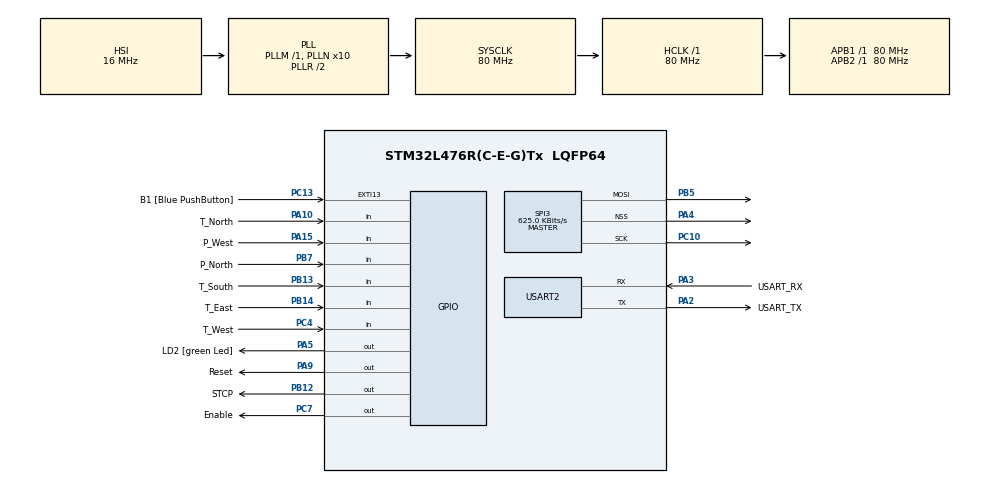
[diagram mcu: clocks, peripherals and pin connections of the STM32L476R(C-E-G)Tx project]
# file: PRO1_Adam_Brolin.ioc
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FREERTOS.Mutexes01=myMutex01,Dynamic,NULL,Available
FREERTOS.Queues01=queue_change_dir,4,direction_t,0,Dynamic,NULL,NULL;queue_pedestrian_wait,4,direction_t,0,Dynamic,NULL,NULL;queue_orange,4,direction_t,0,Dynamic,NULL,NULL;queue_east_west_input,4,uint8_t,0,Dynamic,NULL,NULL;queue_north_south_input,4,uint8_t,0,Dynamic,NULL,NULL
FREERTOS.Tasks01=ChangeDirection,24,128,change_direction,Default,NULL,Dynamic,NULL,NULL;ToogleBlueLight,8,128,toggle_blue_light,Default,NULL,Dynamic,NULL,NULL;Orange,48,128,orange_transition,Default,NULL,Dynamic,NULL,NULL;PedestrianWait,24,128,pedestrian_wait,Default,NULL,Dynamic,NULL,NULL;RenderState,32,128,render_state,Default,NULL,Dynamic,NULL,NULL;CheckInput,44,128,check_input,Default,NULL,Dynamic,NULL,NULL
FREERTOS.configTOTAL_HEAP_SIZE=8000
FREERTOS.configUSE_NEWLIB_REENTRANT=1
Mcu.Family=STM32L4
Mcu.Name=STM32L476R(C-E-G)Tx
Mcu.Package=LQFP64
NVIC.PriorityGroup=NVIC_PRIORITYGROUP_4
NVIC.TIM1_UP_TIM16_IRQn=true\:15\:0\:false\:false\:true\:false\:false\:true\:true
NVIC.TimeBase=TIM1_UP_TIM16_IRQn
NVIC.TimeBaseIP=TIM1
PA10.GPIO_Label=T_North
PA10.GPIO_PuPd=GPIO_PULLUP
PA10.Signal=GPIO_Input
PA13\ (JTMS-SWDIO).GPIO_Label=TMS
PA13\ (JTMS-SWDIO).Mode=Serial_Wire
PA13\ (JTMS-SWDIO).Signal=SYS_JTMS-SWDIO
PA14\ (JTCK-SWCLK).GPIO_Label=TCK
PA14\ (JTCK-SWCLK).Mode=Serial_Wire
PA14\ (JTCK-SWCLK).Signal=SYS_JTCK-SWCLK
PA15\ (JTDI).GPIO_Label=P_West
PA15\ (JTDI).GPIO_PuPd=GPIO_PULLUP
PA15\ (JTDI).Signal=GPIO_Input
PA2.GPIO_Label=USART_TX
PA2.GPIO_Mode=GPIO_MODE_AF_PP
PA2.GPIO_PuPd=GPIO_NOPULL
PA2.GPIO_Speed=GPIO_SPEED_FREQ_VERY_HIGH
PA2.Mode=Asynchronous
PA2.Signal=USART2_TX
PA3.GPIO_Label=USART_RX
PA3.GPIO_Mode=GPIO_MODE_AF_PP
PA3.GPIO_PuPd=GPIO_NOPULL
PA3.GPIO_Speed=GPIO_SPEED_FREQ_VERY_HIGH
PA3.Mode=Asynchronous
PA3.Signal=USART2_RX
PA4.Mode=NSS_Signal_Hard_Output
PA4.Signal=SPI3_NSS
PA5.GPIO_Label=LD2 [green Led]
PA5.GPIO_ModeDefaultOutputPP=GPIO_MODE_OUTPUT_PP
PA5.GPIO_PuPd=GPIO_NOPULL
PA5.GPIO_Speed=GPIO_SPEED_FREQ_LOW
PA5.Signal=GPIO_Output
PA9.GPIO_Label=Reset
PA9.PinState=GPIO_PIN_SET
PA9.Signal=GPIO_Output
PB12.GPIO_Label=STCP
PB12.Signal=GPIO_Output
PB13.GPIO_Label=T_South
PB13.GPIO_PuPd=GPIO_PULLUP
PB13.Signal=GPIO_Input
PB14.GPIO_Label=T_East
PB14.GPIO_PuPd=GPIO_PULLUP
PB14.Signal=GPIO_Input
PB3\ (JTDO-TRACESWO).GPIO_Label=SWO
PB3\ (JTDO-TRACESWO).Signal=SYS_JTDO-SWO
PB5.Mode=TX_Only_Simplex_Unidirect_Master
PB5.Signal=SPI3_MOSI
PB7.GPIO_Label=P_North
PB7.GPIO_PuPd=GPIO_PULLUP
PB7.Signal=GPIO_Input
PC10.Mode=TX_Only_Simplex_Unidirect_Master
PC10.Signal=SPI3_SCK
PC13.GPIO_Label=B1 [Blue PushButton]
PC13.GPIO_ModeDefaultEXTI=GPIO_MODE_IT_FALLING
PC13.GPIO_PuPd=GPIO_NOPULL
PC13.Signal=GPXTI13
PC14-OSC32_IN\ (PC14).Mode=LSE-External-Oscillator
PC14-OSC32_IN\ (PC14).Signal=RCC_OSC32_IN
PC15-OSC32_OUT\ (PC15).Mode=LSE-External-Oscillator
PC15-OSC32_OUT\ (PC15).Signal=RCC_OSC32_OUT
PC4.GPIO_Label=T_West
PC4.GPIO_PuPd=GPIO_PULLUP
PC4.Signal=GPIO_Input
PC7.GPIO_Label=Enable
PC7.Signal=GPIO_Output
PH0-OSC_IN\ (PH0).Signal=RCC_OSC_IN
PH1-OSC_OUT\ (PH1).Signal=RCC_OSC_OUT
ProjectManager.HeapSize=0x200
ProjectManager.StackSize=0x400
ProjectManager.TargetToolchain=STM32CubeIDE
RCC.ADCFreq_Value=64000000
RCC.AHBFreq_Value=80000000
RCC.APB1Freq_Value=80000000
RCC.APB1TimFreq_Value=80000000
RCC.APB2Freq_Value=80000000
RCC.APB2TimFreq_Value=80000000
RCC.CortexFreq_Value=80000000
RCC.HCLKFreq_Value=80000000
RCC.HSE_VALUE=8000000
RCC.HSI_VALUE=16000000
RCC.MSI_VALUE=4000000
RCC.PLLN=10
RCC.PLLSourceVirtual=RCC_PLLSOURCE_HSI
RCC.PREFETCH_ENABLE=1
RCC.SYSCLKFreq_VALUE=80000000
RCC.SYSCLKSource=RCC_SYSCLKSOURCE_PLLCLK
RCC.USBFreq_Value=64000000
RCC.VCOOutputFreq_Value=160000000
SPI3.BaudRatePrescaler=SPI_BAUDRATEPRESCALER_128
SPI3.CalculateBaudRate=625.0 KBits/s
SPI3.DataSize=SPI_DATASIZE_8BIT
SPI3.Direction=SPI_DIRECTION_2LINES
SPI3.FirstBit=SPI_FIRSTBIT_LSB
SPI3.Mode=SPI_MODE_MASTER
SPI3.VirtualNSS=VM_NSSHARD
SPI3.VirtualType=VM_MASTER
USART2.VirtualMode-Asynchronous=VM_ASYNC
VP_FREERTOS_VS_CMSIS_V2.Mode=CMSIS_V2
VP_SYS_VS_tim1.Mode=TIM1
board=NUCLEO-L476RG

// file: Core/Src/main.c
/* USER CODE BEGIN Header */
/**
  ******************************************************************************
  * @file           : main.c
  * @brief          : Main program body
  ******************************************************************************
  * @attention
  *
  * Copyright (c) 2024 STMicroelectronics.
  * All rights reserved.
  *
  * This software is licensed under terms that can be found in the LICENSE file
  * in the root directory of this software component.
  * If no LICENSE file comes with this software, it is provided AS-IS.
  *
  ******************************************************************************
  */
/* USER CODE END Header */
#include "main.h"
#include "cmsis_os.h"
#include "spi.h"
#include "usart.h"
#include "gpio.h"

/* USER CODE BEGIN Includes */
#include "lights_functions.h"
#include "lights_test.h"
/* USER CODE END Includes */

void SystemClock_Config(void);
void MX_FREERTOS_Init(void);

int main(void)
{

  /* MCU Configuration--------------------------------------------------------*/

  /* Reset of all peripherals, Initializes the Flash interface and the Systick. */
  HAL_Init();

  /* Configure the system clock */
  SystemClock_Config();

  /* Initialize all configured peripherals */
  MX_GPIO_Init();
  MX_USART2_UART_Init();
  MX_SPI3_Init();
  /* USER CODE BEGIN 2 */
  //lstate_t state;
  //test_program(&state);

  /* USER CODE END 2 */

  /* Init scheduler */
  osKernelInitialize();

  /* Call init function for freertos objects (in cmsis_os2.c) */
  MX_FREERTOS_Init();

  /* Start scheduler */
  osKernelStart();

  /* We should never get here as control is now taken by the scheduler */

  /* Infinite loop */
  while (1)
  {

  }
}

void SystemClock_Config(void)
{
  RCC_OscInitTypeDef RCC_OscInitStruct = {0};
  RCC_ClkInitTypeDef RCC_ClkInitStruct = {0};

  /** Configure the main internal regulator output voltage
  */
  if (HAL_PWREx_ControlVoltageScaling(PWR_REGULATOR_VOLTAGE_SCALE1) != HAL_OK)
  {
    Error_Handler();
  }

  /** Initializes the RCC Oscillators according to the specified parameters
  * in the RCC_OscInitTypeDef structure.
  */
  RCC_OscInitStruct.OscillatorType = RCC_OSCILLATORTYPE_HSI;
  RCC_OscInitStruct.HSIState = RCC_HSI_ON;
  RCC_OscInitStruct.HSICalibrationValue = RCC_HSICALIBRATION_DEFAULT;
  RCC_OscInitStruct.PLL.PLLState = RCC_PLL_ON;
  RCC_OscInitStruct.PLL.PLLSource = RCC_PLLSOURCE_HSI;
  RCC_OscInitStruct.PLL.PLLM = 1;
  RCC_OscInitStruct.PLL.PLLN = 10;
  RCC_OscInitStruct.PLL.PLLP = RCC_PLLP_DIV7;
  RCC_OscInitStruct.PLL.PLLQ = RCC_PLLQ_DIV2;
  RCC_OscInitStruct.PLL.PLLR = RCC_PLLR_DIV2;
  if (HAL_RCC_OscConfig(&RCC_OscInitStruct) != HAL_OK)
  {
    Error_Handler();
  }

  /** Initializes the CPU, AHB and APB buses clocks
  */
  RCC_ClkInitStruct.ClockType = RCC_CLOCKTYPE_HCLK|RCC_CLOCKTYPE_SYSCLK
                              |RCC_CLOCKTYPE_PCLK1|RCC_CLOCKTYPE_PCLK2;
  RCC_ClkInitStruct.SYSCLKSource = RCC_SYSCLKSOURCE_PLLCLK;
  RCC_ClkInitStruct.AHBCLKDivider = RCC_SYSCLK_DIV1;
  RCC_ClkInitStruct.APB1CLKDivider = RCC_HCLK_DIV1;
  RCC_ClkInitStruct.APB2CLKDivider = RCC_HCLK_DIV1;

  if (HAL_RCC_ClockConfig(&RCC_ClkInitStruct, FLASH_LATENCY_4) != HAL_OK)
  {
    Error_Handler();
  }
}

void HAL_TIM_PeriodElapsedCallback(TIM_HandleTypeDef *htim)
{
  if (htim->Instance == TIM1) {
    HAL_IncTick();
  }
}

void Error_Handler(void)
{
  __disable_irq();
  while (1)
  {
  }
}

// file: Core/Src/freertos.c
/* USER CODE BEGIN Header */
/**
 ******************************************************************************
 * File Name          : freertos.c
 * Description        : Code for freertos applications
 ******************************************************************************
 * @attention
 *
 * Copyright (c) 2024 STMicroelectronics.
 * All rights reserved.
 *
 * This software is licensed under terms that can be found in the LICENSE file
 * in the root directory of this software component.
 * If no LICENSE file comes with this software, it is provided AS-IS.
 *
 ******************************************************************************
 */
/* USER CODE END Header */

#include "FreeRTOS.h"
#include "task.h"
#include "main.h"
#include "cmsis_os.h"

/* USER CODE BEGIN Includes */
#include "lights_functions.h"
#include "lights_test.h"
#include <semphr.h>

/* USER CODE END Includes */

/* USER CODE BEGIN PTD */
#define PERIOD_BLUE_LIGHT 1000
#define PERIOD_RENDER_STATE 100
#define PERIOD_CHECK_INPUT 10
#define PERIOD_CHANGE_DIRECTION 8000
#define PERIOD_ORANGE 1000
#define PERIOD_PEDESTRIAN_WAIT 1000

#define PERIOD_COUNT_DOWN 100
#define PERIOD_TMR_FINISH 10

/* USER CODE END PTD */

/* USER CODE BEGIN Variables */

lstate_t state;
uint8_t north_p_waiting = 0;
uint8_t west_p_waiting = 0;
SemaphoreHandle_t stateMtx;

int32_t toggleFreq = 1000;    // ms
int32_t toggleCountDown = -1; // ms, -1 inactive

int32_t pedestrianDelay = 8000;   // ms

int32_t walkingDelay = 5000;   // ms

int32_t orangeDelay = 2000;   // ms

int32_t greenDelay = 8000;   // ms

int32_t redDelayMax = 10000; // ms
//int32_t redCountDown = -1;   // ms, -1 is inactive
//SemaphoreHandle_t redMtx;
/* USER CODE END Variables */
/* Definitions for ChangeDirection */
osThreadId_t ChangeDirectionHandle;
const osThreadAttr_t ChangeDirection_attributes = {
  .name = "ChangeDirection",
  .stack_size = 128 * 4,
  .priority = (osPriority_t) osPriorityNormal,
};
/* Definitions for ToogleBlueLight */
osThreadId_t ToogleBlueLightHandle;
const osThreadAttr_t ToogleBlueLight_attributes = {
  .name = "ToogleBlueLight",
  .stack_size = 128 * 4,
  .priority = (osPriority_t) osPriorityLow,
};
/* Definitions for Orange */
osThreadId_t OrangeHandle;
const osThreadAttr_t Orange_attributes = {
  .name = "Orange",
  .stack_size = 128 * 4,
  .priority = (osPriority_t) osPriorityRealtime,
};
/* Definitions for PedestrianWait */
osThreadId_t PedestrianWaitHandle;
const osThreadAttr_t PedestrianWait_attributes = {
  .name = "PedestrianWait",
  .stack_size = 128 * 4,
  .priority = (osPriority_t) osPriorityNormal,
};
/* Definitions for RenderState */
osThreadId_t RenderStateHandle;
const osThreadAttr_t RenderState_attributes = {
  .name = "RenderState",
  .stack_size = 128 * 4,
  .priority = (osPriority_t) osPriorityAboveNormal,
};
/* Definitions for CheckInput */
osThreadId_t CheckInputHandle;
const osThreadAttr_t CheckInput_attributes = {
  .name = "CheckInput",
  .stack_size = 128 * 4,
  .priority = (osPriority_t) osPriorityHigh4,
};
/* Definitions for queue_change_dir */
osMessageQueueId_t queue_change_dirHandle;
const osMessageQueueAttr_t queue_change_dir_attributes = {
  .name = "queue_change_dir"
};
/* Definitions for queue_pedestrian_wait */
osMessageQueueId_t queue_pedestrian_waitHandle;
const osMessageQueueAttr_t queue_pedestrian_wait_attributes = {
  .name = "queue_pedestrian_wait"
};
/* Definitions for queue_orange */
osMessageQueueId_t queue_orangeHandle;
const osMessageQueueAttr_t queue_orange_attributes = {
  .name = "queue_orange"
};
/* Definitions for queue_east_west_input */
osMessageQueueId_t queue_east_west_inputHandle;
const osMessageQueueAttr_t queue_east_west_input_attributes = {
  .name = "queue_east_west_input"
};
/* Definitions for queue_north_south_input */
osMessageQueueId_t queue_north_south_inputHandle;
const osMessageQueueAttr_t queue_north_south_input_attributes = {
  .name = "queue_north_south_input"
};
/* Definitions for myMutex01 */
osMutexId_t myMutex01Handle;
const osMutexAttr_t myMutex01_attributes = {
  .name = "myMutex01"
};

void change_direction(void *argument);
void toggle_blue_light(void *argument);
void orange_transition(void *argument);
void pedestrian_wait(void *argument);
void render_state(void *argument);
void check_input(void *argument);

void MX_FREERTOS_Init(void); /* (MISRA C 2004 rule 8.1) */

void MX_FREERTOS_Init(void) {
  /* USER CODE BEGIN Init */
  state.t_north = green;
  state.t_south = green;
  state.t_east = red;
  state.t_west = red;
  state.p_north = red;
  state.p_west = red;
  /* USER CODE END Init */
  /* Create the mutex(es) */
  /* creation of myMutex01 */
  myMutex01Handle = osMutexNew(&myMutex01_attributes);

  /* USER CODE BEGIN RTOS_MUTEX */
  /* add mutexes, ... */
  stateMtx = xSemaphoreCreateMutex();

  /* USER CODE END RTOS_MUTEX */

  /* Create the queue(s) */
  /* creation of queue_change_dir */
  queue_change_dirHandle = osMessageQueueNew (4, sizeof(direction_t), &queue_change_dir_attributes);

  /* creation of queue_pedestrian_wait */
  queue_pedestrian_waitHandle = osMessageQueueNew (4, sizeof(direction_t), &queue_pedestrian_wait_attributes);

  /* creation of queue_orange */
  queue_orangeHandle = osMessageQueueNew (4, sizeof(direction_t), &queue_orange_attributes);

  /* creation of queue_east_west_input */
  queue_east_west_inputHandle = osMessageQueueNew (4, sizeof(uint8_t), &queue_east_west_input_attributes);

  /* creation of queue_north_south_input */
  queue_north_south_inputHandle = osMessageQueueNew (4, sizeof(uint8_t), &queue_north_south_input_attributes);

  /* Create the thread(s) */
  /* creation of ChangeDirection */
  ChangeDirectionHandle = osThreadNew(change_direction, NULL, &ChangeDirection_attributes);

  /* creation of ToogleBlueLight */
  ToogleBlueLightHandle = osThreadNew(toggle_blue_light, NULL, &ToogleBlueLight_attributes);

  /* creation of Orange */
  OrangeHandle = osThreadNew(orange_transition, NULL, &Orange_attributes);

  /* creation of PedestrianWait */
  PedestrianWaitHandle = osThreadNew(pedestrian_wait, NULL, &PedestrianWait_attributes);

  /* creation of RenderState */
  RenderStateHandle = osThreadNew(render_state, NULL, &RenderState_attributes);

  /* creation of CheckInput */
  CheckInputHandle = osThreadNew(check_input, NULL, &CheckInput_attributes);

  /* USER CODE BEGIN RTOS_THREADS */

  // Disable blinking for p_north and p_west

//xSemaphoreTake(okGoPedestrianNorthMtx, portMAX_DELAY);

// Allow inputs to be received
uint8_t input_goahead = 0b1;
osMessageQueuePut(queue_north_south_inputHandle, &input_goahead, 0, 0);
osMessageQueuePut(queue_east_west_inputHandle, &input_goahead, 0, 0);

  /* add threads, ... */
  /* USER CODE END RTOS_THREADS */

  /* USER CODE BEGIN RTOS_EVENTS */
  /* add events, ... */

	// NOTE: Test program here
	// test_program(&state);

  /* USER CODE END RTOS_EVENTS */

}

/* USER CODE BEGIN Header_change_direction */
/**
  * @brief  Function implementing the ChangeDirection thread.
  * Checks if directions of current green lights should be changed.
  * Sends messages to orange_transition if lights are to be changed
  * @param  argument: Not used
  * @retval None
  */
/* USER CODE END Header_change_direction */
void change_direction(void *argument)
{
  /* USER CODE BEGIN change_direction */

  TickType_t xLastWakeTime;
  const TickType_t xPeriod = pdMS_TO_TICKS(PERIOD_CHANGE_DIRECTION); // ms to ticks
  // Initialize the xLastWakeTime variable with the current time.
  xLastWakeTime = xTaskGetTickCount();

  /* Infinite loop */
  for(;;)
  {
	// Indicating whether or not traffic lights should stop as is to allow crossing to finish
	uint8_t stop = 0;

	// Check if any pedestrians want to cross;
	direction_t pedestrian;
	osStatus_t status = osMessageQueueGet(queue_change_dirHandle, &pedestrian, 0, 0);

	if(status == osOK){

		light_t *should_be_red;

		if(pedestrian == pnorth){
			should_be_red = &(state.t_north);
		} else{
			should_be_red = &(state.t_west);
		}

		if(*should_be_red == red){
			// Keep current state of car lights until crossing finished
			stop = 0b01;
		}
		else{
			// Try again next execution of task once directions had been switched
			stop = 0b10;
			osMessageQueuePut(queue_change_dirHandle, &pedestrian, 0, 0);
		}
	}

	uint8_t input = get_buttons();
	xSemaphoreTake(stateMtx, portMAX_DELAY);

	if(stop & 0b01){
		xSemaphoreGive(stateMtx);
		// pedestrian wants to cross
		direction_t pedestrian_go = ok;
		osMessageQueuePut(queue_pedestrian_waitHandle, &pedestrian_go, 0, portMAX_DELAY);

		// Wait until message is received signaling that crossing is done
		direction_t done;
		osMessageQueueGet(queue_change_dirHandle, &done, 0, portMAX_DELAY);

	}
	else if((((input & (BTN_T_NORTH | BTN_T_SOUTH) &&  !(input & (BTN_T_EAST | BTN_T_WEST))) && state.t_north == green) ||
			((input & (BTN_T_EAST | BTN_T_WEST) &&  !(input & (BTN_T_NORTH | BTN_T_SOUTH))) && state.t_west == green)) && !(stop & 0b10)){
		// Do not change lights since cars already has a green light and no other cars are waiting in other direction
	}
	else{
		// Switch lights to other direction since there is currently one of two things happening:
		// 		1. No cars are waiting and light switches back and fourth
		// 		2. Cars are waiting in both directions and light should switch back and fourth allowing all to pass
		direction_t from;
		direction_t to;
		if(state.t_north == green){
			from = north_south;
			to = east_west;
		}
		else{
			from = east_west;
			to = north_south;
		}
		xSemaphoreGive(stateMtx);

		// Turn other direction red
		osMessageQueuePut(queue_orangeHandle, &from, 0, 0);
		vTaskDelay(orangeDelay + 1000); // One extra second so that both are red for 1 second

		// Turn desired direction green
		osMessageQueuePut(queue_orangeHandle, &to, 0, 0);
		vTaskDelay(orangeDelay);
	}

	// Give back mutex if if-statement was not used
	xSemaphoreGive(stateMtx);

	  vTaskDelayUntil(&xLastWakeTime, xPeriod);
  }
  /* USER CODE END change_direction */
}

/* USER CODE BEGIN Header_toggle_blue_light */
/**
 * @brief Function implementing the ToogleBlueLight thread.
 * Toggles the blue light for each pedestrian light if there are pedestrians waiting there.
 * @param argument: Not used
 * @retval None
 */
/* USER CODE END Header_toggle_blue_light */
void toggle_blue_light(void *argument)
{
  /* USER CODE BEGIN toggle_blue_light */
  TickType_t xLastWakeTime;
  const TickType_t xPeriod = pdMS_TO_TICKS(PERIOD_BLUE_LIGHT); // ms to ticks
  // Initialize the xLastWakeTime variable with the current time.
  xLastWakeTime = xTaskGetTickCount();
  /* Infinite loop */
  for (;;) {

	 xSemaphoreTake(stateMtx, portMAX_DELAY);

	 if(north_p_waiting){
		 toggle_blue(&(state.p_north));
	 }
	 if(west_p_waiting){
		 toggle_blue(&(state.p_west));
	 }

	 xSemaphoreGive(stateMtx);

    vTaskDelayUntil(&xLastWakeTime, xPeriod);
  }
  /* USER CODE END toggle_blue_light */
}

/* USER CODE BEGIN Header_orange_transition */
/**
* @brief Function implementing the Orange thread.
* If message is received, the task changes specified direction to orange and then to next state.
* @param argument: Not used
* @retval None
*/
/* USER CODE END Header_orange_transition */
void orange_transition(void *argument)
{
  /* USER CODE BEGIN orange_transition */
  TickType_t xLastWakeTime;
  const TickType_t xPeriod = pdMS_TO_TICKS(PERIOD_ORANGE); // ms to ticks
  // Initialize the xLastWakeTime variable with the current time.
  xLastWakeTime = xTaskGetTickCount();
  /* Infinite loop */
  for(;;)
  {

	direction_t direction_to_change;
	osStatus_t status = osMessageQueueGet(queue_orangeHandle, &direction_to_change, 0, 0);

	if(status == osOK){
		xSemaphoreTake(stateMtx, portMAX_DELAY);

		light_t *light1;
		light_t *light2;

		// set what direction to change
		switch(direction_to_change){
			case north_south:
				light1 = &(state.t_north);
				light2 = &(state.t_south);
				break;
			case east_west:
				light1 = &(state.t_east);
				light2 = &(state.t_west);
				break;
			default:
				break;
		}

		light_t prev = *light1;
		light_t next;

		// If current lights should transition to green or to red
		if(prev == green)
			next = red;
		else
			next = green;

		*light1 = yellow;
		*light2 = yellow;

		xSemaphoreGive(stateMtx);
		vTaskDelay(orangeDelay);
		xSemaphoreTake(stateMtx, portMAX_DELAY);

		*light1 = next;
		*light2 = next;

		xSemaphoreGive(stateMtx);
	}

	vTaskDelayUntil(&xLastWakeTime, xPeriod);
  }
  /* USER CODE END orange_transition */
}

/* USER CODE BEGIN Header_pedestrian_wait */
/**
* @brief Function implementing the PedestrianWait thread.
* Checks if there are pedestrians waiting. If true then manages crossing and syncs with change_direction()
*
* @param argument: Not used
* @retval None
*/
/* USER CODE END Header_pedestrian_wait */
void pedestrian_wait(void *argument)
{
  /* USER CODE BEGIN pedestrian_wait */
  TickType_t xLastWakeTime;
  const TickType_t xPeriod = pdMS_TO_TICKS(PERIOD_PEDESTRIAN_WAIT); // ms to ticks
  // Initialize the xLastWakeTime variable with the current time.
  xLastWakeTime = xTaskGetTickCount();
  /* Infinite loop */
  for(;;)
  {

	xSemaphoreTake(stateMtx, portMAX_DELAY);

	if(north_p_waiting || west_p_waiting){
		xSemaphoreGive(stateMtx);

		direction_t keep_direction;
		light_t *light_to_change;
		uint8_t * current_waiting;
		if(north_p_waiting){
			keep_direction = pnorth;
			light_to_change = &(state.p_north);
			current_waiting = &north_p_waiting;
		}
		else if(west_p_waiting){
			keep_direction = pwest;
			light_to_change = &(state.p_west);
			current_waiting = &west_p_waiting;
		}

		// Tell change direction task that pedestrian north/west wants to cross
		osMessageQueuePut(queue_change_dirHandle, &keep_direction, 0, 0);

		// Wait until car lights are in correct position, message will be sent from change_direction when state is ready
		direction_t go;
		osMessageQueueGet(queue_pedestrian_waitHandle, &go, 0, portMAX_DELAY);
		if(go == ok){

			xSemaphoreTake(stateMtx, portMAX_DELAY);
			// Stop blinking, also signifies that pedestrian crossing has been handled
			*current_waiting = 0;
			// Light is green
			*light_to_change = green;
			xSemaphoreGive(stateMtx);

			// Allow time pedestrians to cross
			vTaskDelay(walkingDelay);

			xSemaphoreTake(stateMtx, portMAX_DELAY);
			*light_to_change = red;
			xSemaphoreGive(stateMtx);

			// Tell change_direction task that crossing is done
			direction_t done = ok;
			osMessageQueuePut(queue_change_dirHandle, &done, 0, portMAX_DELAY);

		}

		// Stop blocking inputs from pedestrian crossing
		if(current_waiting == &north_p_waiting){
			uint8_t input_ok = 0b1;
			osMessageQueuePut(queue_north_south_inputHandle, &input_ok, 0, 0);
		}
		else{
			uint8_t input_ok = 0b1;
			osMessageQueuePut(queue_east_west_inputHandle, &input_ok, 0, 0);
		}

	}

	xSemaphoreGive(stateMtx);

	vTaskDelayUntil(&xLastWakeTime, xPeriod);
  }
  /* USER CODE END pedestrian_wait */
}

/* USER CODE BEGIN Header_render_state */
/**
 * @brief Function implementing the RenderState thread.
 * Renders the current logical state.
 * @param argument: Not used
 * @retval None
 */
/* USER CODE END Header_render_state */
void render_state(void *argument)
{
  /* USER CODE BEGIN render_state */
  uint8_t bits[] = {0b0, 0b0, 0b0};

  TickType_t xLastWakeTime;
  const TickType_t xPeriod = pdMS_TO_TICKS(PERIOD_RENDER_STATE); // ms to ticks
  // Initialize the xLastWakeTime variable with the current time.
  xLastWakeTime = xTaskGetTickCount();
  /* Infinite loop*/
  for (;;) {

	// render current state
    xSemaphoreTake(stateMtx, portMAX_DELAY);
    format_lights(&state, bits);
    feed_shift_reg(bits);
    xSemaphoreGive(stateMtx);

    vTaskDelayUntil(&xLastWakeTime, xPeriod);
  }
  /* USER CODE END render_state */
}

/* USER CODE BEGIN Header_check_input */
/**
 * @brief Function implementing the CheckInput thread.
 * Checks if the buttons are pressed at either pedestrian crossing. Signals to other tasks if true.
 * @param argument: Not used
 * @retval None
 */
/* USER CODE END Header_check_input */
void check_input(void *argument)
{
  /* USER CODE BEGIN check_input */

  TickType_t xLastWakeTime;
  const TickType_t xPeriod = pdMS_TO_TICKS(PERIOD_CHECK_INPUT); // ms to ticks
  // Initialize the xLastWakeTime variable with the current time.
  xLastWakeTime = xTaskGetTickCount();

  /* Infinite loop */
  for (;;) {
    uint8_t input = get_buttons();

    uint8_t input_goahead_n;
	osStatus_t status = osMessageQueueGet(queue_north_south_inputHandle, &input_goahead_n, 0, 0);

	// If input for the north pedestrian crossing is allowed
	if(status == osOK && input_goahead_n){

		if(input & BTN_P_NORTH){
			xSemaphoreTake(stateMtx, portMAX_DELAY);
			north_p_waiting = 1;
			xSemaphoreGive(stateMtx);

		}
		else{
			uint8_t input_goahead = 0b1;
			osMessageQueuePut(queue_north_south_inputHandle, &input_goahead, 0, 0);
		}
	}

    uint8_t input_goahead_w;
    osStatus_t status_again = osMessageQueueGet(queue_east_west_inputHandle, &input_goahead_w, 0, 0);

	// If input for the north pedestrian crossing is allowed
	if(status_again == osOK && input_goahead_w){

		if(input & BTN_P_WEST){
			xSemaphoreTake(stateMtx, portMAX_DELAY);
			west_p_waiting = 1;
			xSemaphoreGive(stateMtx);

		}
		else{
			uint8_t input_goahead = 0b1;
			osMessageQueuePut(queue_east_west_inputHandle, &input_goahead, 0, 0);
		}
	}

    vTaskDelayUntil(&xLastWakeTime, xPeriod);
  }
  /* USER CODE END check_input */
}
